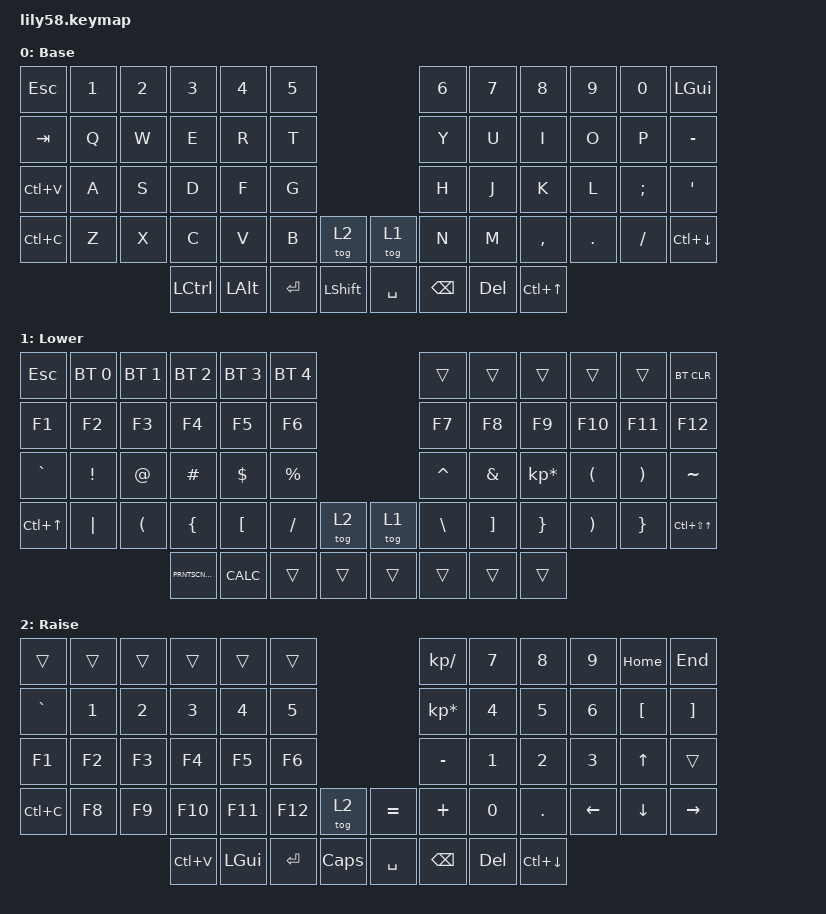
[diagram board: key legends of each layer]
/*
 * Copyright (c) 2020 The ZMK Contributors
 *
 * SPDX-License-Identifier: MIT
 */

#include <behaviors.dtsi>
#include <dt-bindings/zmk/bt.h>
#include <dt-bindings/zmk/keys.h>

/ {
    combos {
        compatible = "zmk,combos";

        CapsLock {
            bindings = <&kp CAPS>;
            key-positions = <53 24>;
        };
    };

    macros {
        PRNTSCNBTTN: PRNTSCNBTTN {
            compatible = "zmk,behavior-macro";
            #binding-cells = <0>;
            bindings = <&kp PRINTSCREEN &to 0>;
            label = "PRNTSCNBTTN";
        };
    };

    keymap {
        compatible = "zmk,keymap";

        default_layer {
            // ------------------------------------------------------------------------------------------------------------
            // |  ESC  |  1  |  2  |  3   |  4   |  5   |                   |  6   |  7    |  8    |  9   |   0   |   `   |
            // |  TAB  |  Q  |  W  |  E   |  R   |  T   |                   |  Y   |  U    |  I    |  O   |   P   |   -   |
            // |  CTRL |  A  |  S  |  D   |  F   |  G   |                   |  H   |  J    |  K    |  L   |   ;   |   '   |
            // | SHIFT |  Z  |  X  |  C   |  V   |  B   |   "["  |  |  "]"  |  N   |  M    |  ,    |  .   |   /   | SHIFT |
            //                     | ALT  | GUI  | LOWER|  SPACE |  | ENTER | RAISE| BSPC  | GUI   |

            display-name = "Base";
            bindings = <
&kp ESC    &kp N1  &kp N2  &kp N3     &kp N4        &kp N5                                  &kp N6         &kp N7   &kp N8            &kp N9   &kp N0    &kp LEFT_GUI
&kp TAB    &kp Q   &kp W   &kp E      &kp R         &kp T                                   &kp Y          &kp U    &kp I             &kp O    &kp P     &kp MINUS
&kp LC(V)  &kp A   &kp S   &kp D      &kp F         &kp G                                   &kp H          &kp J    &kp K             &kp L    &kp SEMI  &kp SQT
&kp LC(C)  &kp Z   &kp X   &kp C      &kp V         &kp B      &tog 2            &tog 1     &kp N          &kp M    &kp COMMA         &kp DOT  &kp FSLH  &kp LC(DOWN_ARROW)
                           &kp LCTRL  &kp LEFT_ALT  &kp ENTER  &kp LEFT_SHIFT    &kp SPACE  &kp BACKSPACE  &kp DEL  &kp LC(UP_ARROW)
            >;
        };

        lower_layer {
            // ------------------------------------------------------------------------------------------------------------
            // | BTCLR | BT1 | BT2 |  BT3 |  BT4 |  BT5 |                   |      |       |       |      |       |       |
            // |  F1   |  F2 |  F3 |  F4  |  F5  |  F6  |                   |  F7  |  F8   |  F9   |  F10 |  F11  |  F12  |
            // |   `   |  !  |  @  |  #   |  $   |  %   |                   |  ^   |  &    |  *    |  (   |   )   |   ~   |
            // |       |     |     |      |      |      |        |  |       |      |  _    |  +    |  {   |   }   |  "|"  |
            //                     |      |      |      |        |  |       |      |       |       |

            display-name = "Lower";
            bindings = <
&kp ESC           &bt BT_SEL 0  &bt BT_SEL 1          &bt BT_SEL 2    &bt BT_SEL 3      &bt BT_SEL 4                    &trans         &trans    &trans           &trans    &trans    &bt BT_CLR
&kp F1            &kp F2        &kp F3                &kp F4          &kp F5            &kp F6                          &kp F7         &kp F8    &kp F9           &kp F10   &kp F11   &kp F12
&kp GRAVE         &kp EXCL      &kp AT                &kp HASH        &kp DOLLAR        &kp PRCNT                       &kp CARET      &kp AMPS  &kp KP_MULTIPLY  &kp LPAR  &kp RPAR  &kp TILDE
&kp LC(UP_ARROW)  &kp PIPE      &kp LEFT_PARENTHESIS  &kp LEFT_BRACE  &kp LEFT_BRACKET  &kp SLASH     &tog 2    &tog 1  &kp BACKSLASH  &kp RBKT  &kp RBRC         &kp RPAR  &kp RBRC  &kp LC(LS(UP_ARROW))
                                                      &PRNTSCNBTTN    &kp K_CALC        &trans        &trans    &trans  &trans         &trans    &trans
            >;
        };

        raise_layer {
            // ------------------------------------------------------------------------------------------------------------
            // |       |     |     |      |      |      |                   |      |       |       |      |       |       |
            // |   `   |  1  |  2  |  3   |  4   |  5   |                   |  6   |   7   |   8   |  9   |   0   |       |
            // |   F1  |  F2 |  F3 |  F4  |  F5  |  F6  |                   |      |   <-  |   v   |  ^   |  ->   |       |
            // |   F7  |  F8 |  F9 |  F10 |  F11 |  F12 |        |  |       |  +   |   -   |   =   |  [   |   ]   |   \   |
            //                     |      |      |      |        |  |       |      |       |       |

            display-name = "Raise";
            bindings = <
&trans     &trans  &trans  &trans     &trans        &trans                            &kp KP_DIVIDE    &kp NUMBER_7  &kp NUMBER_8  &kp NUMBER_9    &kp HOME          &kp END
&kp GRAVE  &kp N1  &kp N2  &kp N3     &kp N4        &kp N5                            &kp KP_MULTIPLY  &kp NUMBER_4  &kp NUMBER_5  &kp NUMBER_6    &kp LEFT_BRACKET  &kp RIGHT_BRACKET
&kp F1     &kp F2  &kp F3  &kp F4     &kp F5        &kp F6                            &kp MINUS        &kp NUMBER_1  &kp NUMBER_2  &kp NUMBER_3    &kp UP_ARROW      &trans
&kp LC(C)  &kp F8  &kp F9  &kp F10    &kp F11       &kp F12    &tog 2      &kp EQUAL  &kp PLUS         &kp NUMBER_0  &kp PERIOD    &kp LEFT_ARROW  &kp DOWN_ARROW    &kp RIGHT_ARROW
                           &kp LC(V)  &kp LEFT_GUI  &kp ENTER  &kp CAPS    &kp SPACE  &kp BACKSPACE    &kp DELETE    &kp LC(DOWN)
            >;
        };
    };
};
